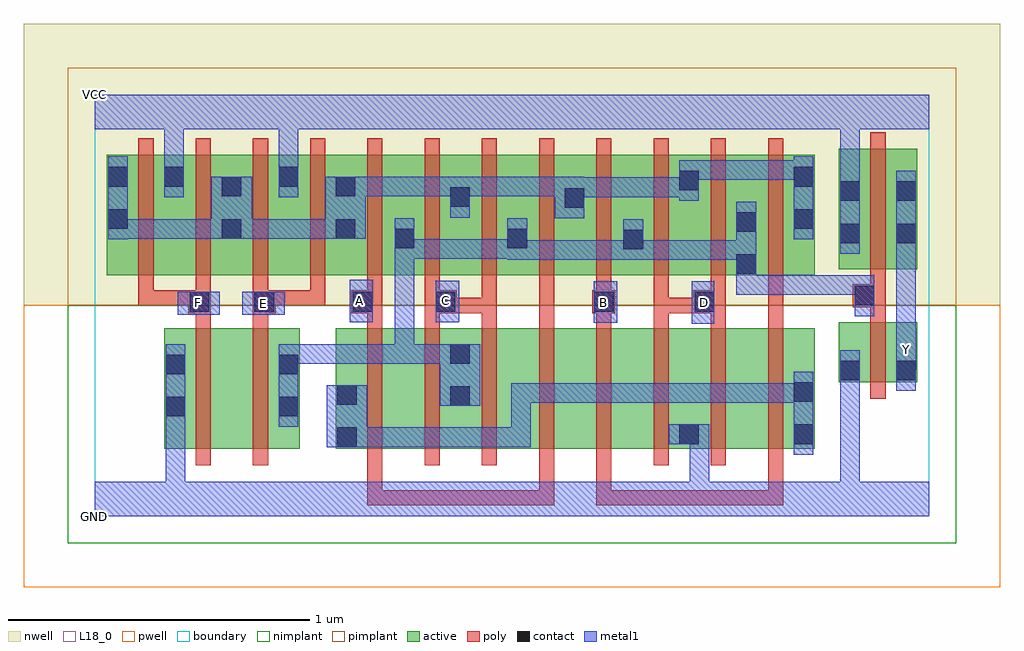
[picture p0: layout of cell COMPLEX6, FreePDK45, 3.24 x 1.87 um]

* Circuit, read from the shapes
.subckt COMPLEX6 A B C D E F GND VCC Y
M1 n1 F GND VSUBS nfet w=0.4u l=0.05u
M2 n2 E n1 VSUBS nfet w=0.4u l=0.05u
M3 n3 A n4 VSUBS nfet w=0.4u l=0.05u
M4 n2 C n3 VSUBS nfet w=0.4u l=0.05u
M5 n5 C n2 VSUBS nfet w=0.4u l=0.05u
M6 n6 A n5 VSUBS nfet w=0.4u l=0.05u
M7 n7 B n6 VSUBS nfet w=0.4u l=0.05u
M8 GND D n7 VSUBS nfet w=0.4u l=0.05u
M9 n8 D GND VSUBS nfet w=0.4u l=0.05u
M10 n4 B n8 VSUBS nfet w=0.4u l=0.05u
M11 Y n2 GND VSUBS nfet w=0.2u l=0.05u
M12 VCC F n9 n10 pfet w=0.4u l=0.05u m=2
M13 VCC E n9 n10 pfet w=0.4u l=0.05u m=2
M14 n2 A n9 n10 pfet w=0.4u l=0.05u m=2
M15 n9 C n2 n10 pfet w=0.4u l=0.05u m=2
M16 n2 B n9 n10 pfet w=0.4u l=0.05u m=2
M17 n9 D n2 n10 pfet w=0.4u l=0.05u m=2
M18 Y n2 VCC n10 pfet w=0.4u l=0.05u
.ends

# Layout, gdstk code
import gdstk
lib = gdstk.Library(unit=1e-6, precision=1e-09)
def R(c, l, rs):  # rectangles x0, y0, x1, y1
    for r in rs: c.add(gdstk.rectangle(r[:2], r[2:], *l))
def A(c, l, x, y, w, h, nx, ny, dx, dy):  # array of equal rectangles
    R(c, l, [(x+i*dx, y+j*dy, x+i*dx+w, y+j*dy+h) for i in range(nx) for j in range(ny)])
active = (1, 0)
pwell = (2, 0)
nwell = (3, 0)
nimplant = (4, 0)
pimplant = (5, 0)
poly = (9, 0)
contact = (10, 0)
metal1 = (11, 0)
L18_0 = (18, 0)
boundary = (235, 0)

complex6 = lib.new_cell('COMPLEX6')
R(complex6, active, [(0.23,0.225,0.305,0.625), (0.23,0.225,0.455,0.625), (0.455,0.225,0.68,0.625), (0.605,0.225,0.68,0.625), (0.8,0.225,0.875,0.625), (0.8,0.225,1.025,0.625), (1.025,0.225,1.25,0.625), (1.175,0.225,1.405,0.625), (1.405,0.225,1.595,0.625), (1.595,0.225,1.785,0.625), (1.785,0.225,2.01,0.625), (1.935,0.225,2.165,0.625), (1.935,0.225,2.01,0.617), (2.165,0.225,2.39,0.625), (2.315,0.225,2.39,0.625), (1.175,0.245,1.25,0.617), (2.47,0.445,2.545,0.645), (2.47,0.445,2.73,0.645), (2.655,0.445,2.73,0.645), (0.04,0.8,0.115,1.192), (0.04,0.8,0.3,1.2), (0.225,0.8,0.492,1.2), (0.417,0.8,0.492,1.192), (0.417,0.8,0.68,1.2), (0.605,0.8,0.87,1.2), (0.795,0.8,0.87,1.192), (0.795,0.8,1.065,1.2), (0.99,0.8,1.25,1.2), (0.99,0.8,1.065,1.07), (1.175,0.8,1.44,1.2), (1.365,0.8,1.63,1.2), (1.365,0.8,1.44,1.07), (1.555,0.8,1.825,1.2), (1.75,0.8,2.01,1.2), (1.75,0.8,1.825,1.07), (1.935,0.8,2.2,1.2), (2.125,0.8,2.39,1.2), (2.125,0.8,2.2,1.07), (2.315,0.8,2.39,1.192), (0.225,0.802,0.3,1.2), (2.47,0.82,2.545,1.22), (2.47,0.82,2.73,1.22), (2.655,0.82,2.73,1.165), (0.605,0.837,0.68,1.2), (1.555,0.847,1.63,1.2), (1.175,0.907,1.25,1.2), (1.935,0.907,2.01,1.192)])
R(complex6, pwell, [(-0.235,-0.235,3.005,0.7)])
R(complex6, nwell, [(-0.235,0.7,3.005,1.635)])
R(complex6, nimplant, [(-0.09,-0.09,2.86,0.7)])
R(complex6, pimplant, [(-0.09,0.7,2.86,1.49)])
A(complex6, poly, 0.905, 0.17, 0.05, 0.51, 8, 1, 0.19, 0)
A(complex6, poly, 0.905, 0.63, 0.05, 0.095, 3, 1, 0.19, 0)
A(complex6, poly, 1.665, 0.63, 0.05, 0.095, 4, 1, 0.19, 0)
A(complex6, poly, 0.145, 0.7, 0.05, 0.095, 6, 1, 0.19, 0)
A(complex6, poly, 0.145, 0.745, 0.05, 0.51, 12, 1, 0.19, 0)
R(complex6, poly, [(0.905,0.037,0.955,0.087), (0.905,0.037,0.955,0.087), (0.905,0.037,0.955,0.087), (0.905,0.037,0.955,0.22), (0.905,0.037,1.087,0.087), (1.037,0.037,1.087,0.087), (1.037,0.037,1.087,0.087), (1.037,0.037,1.087,0.087), (1.037,0.037,1.392,0.087), (1.342,0.037,1.392,0.087), (1.342,0.037,1.525,0.087), (1.475,0.037,1.525,0.087), (1.475,0.037,1.525,0.087), (1.475,0.037,1.525,0.087), (1.475,0.037,1.525,0.22), (1.665,0.037,1.715,0.087), (1.665,0.037,1.715,0.087), (1.665,0.037,1.715,0.087), (1.665,0.037,1.715,0.22), (1.665,0.037,1.905,0.087), (1.855,0.037,1.905,0.087), (1.855,0.037,1.905,0.087), (1.855,0.037,1.905,0.087), (1.855,0.037,2.152,0.087), (2.102,0.037,2.152,0.087), (2.102,0.037,2.152,0.087), (2.102,0.037,2.152,0.087), (2.102,0.037,2.285,0.087), (2.235,0.037,2.285,0.087), (2.235,0.037,2.285,0.22), (0.335,0.17,0.385,0.68), (0.525,0.17,0.575,0.68), (2.575,0.39,2.625,0.7), (0.335,0.63,0.385,0.725), (0.525,0.63,0.575,0.725), (1.475,0.63,1.525,0.75), (2.575,0.65,2.625,0.745), (0.31,0.675,0.385,0.75), (0.525,0.675,0.6,0.75), (0.852,0.675,0.955,0.75), (1.095,0.675,1.202,0.75), (1.152,0.675,1.202,0.725), (1.152,0.675,1.202,0.725), (1.152,0.675,1.335,0.725), (1.285,0.675,1.335,0.795), (1.285,0.675,1.335,0.725), (1.652,0.675,1.727,0.75), (1.855,0.675,1.905,0.795), (1.855,0.675,1.905,0.725), (1.855,0.675,1.905,0.725), (1.855,0.675,1.905,0.725), (1.855,0.675,2.037,0.725), (1.987,0.675,2.095,0.75), (2.235,0.675,2.285,0.795), (2.235,0.675,2.285,0.725), (2.517,0.695,2.625,0.77), (0.145,0.7,0.195,0.75), (0.145,0.7,0.195,0.75), (0.145,0.7,0.195,0.75), (0.145,0.7,0.36,0.75), (0.55,0.7,0.6,0.75), (0.55,0.7,0.6,0.75), (0.55,0.7,0.765,0.75), (0.715,0.7,0.765,0.75), (1.475,0.7,1.525,0.795), (1.475,0.7,1.525,0.75), (1.665,0.7,1.715,0.795), (2.045,0.7,2.095,0.795), (2.575,0.72,2.625,0.815), (2.575,0.765,2.625,1.275)])
R(complex6, contact, [(0.805,0.23,0.87,0.295), (1.94,0.24,2.005,0.305), (2.32,0.24,2.385,0.305), (0.235,0.332,0.3,0.397), (0.61,0.332,0.675,0.397), (1.18,0.367,1.245,0.432), (0.805,0.37,0.87,0.435), (2.32,0.38,2.385,0.445), (2.475,0.452,2.54,0.517), (2.66,0.452,2.725,0.517), (0.235,0.472,0.3,0.537), (0.61,0.472,0.675,0.537), (1.18,0.507,1.245,0.572), (0.315,0.68,0.38,0.745), (0.53,0.68,0.595,0.745), (0.857,0.68,0.922,0.745), (1.132,0.68,1.197,0.745), (1.657,0.68,1.722,0.745), (1.992,0.68,2.057,0.745), (2.522,0.7,2.587,0.765), (2.13,0.805,2.195,0.87), (1.755,0.887,1.82,0.952), (0.995,0.89,1.06,0.955), (1.37,0.89,1.435,0.955), (2.475,0.907,2.54,0.972), (2.66,0.907,2.725,0.972), (0.422,0.922,0.487,0.987), (0.8,0.922,0.865,0.987), (2.13,0.945,2.195,1.01), (0.045,0.955,0.11,1.02), (2.32,0.955,2.385,1.02), (1.56,1.025,1.625,1.09), (1.18,1.027,1.245,1.092), (2.475,1.047,2.54,1.112), (2.66,1.047,2.725,1.112), (0.422,1.062,0.487,1.127), (0.8,1.062,0.865,1.127), (1.94,1.082,2.005,1.147), (0.045,1.095,0.11,1.16), (0.23,1.095,0.295,1.16), (0.61,1.095,0.675,1.16), (2.32,1.095,2.385,1.16)])
R(complex6, metal1, [(0,0,2.77,0.115), (0.235,0.05,0.3,0.362), (1.975,0.05,2.04,0.305), (2.475,0.05,2.54,0.115), (2.475,0.05,2.54,0.115), (2.475,0.05,2.54,0.115), (2.475,0.05,2.54,0.115), (2.475,0.05,2.54,0.115), (2.475,0.05,2.54,0.115), (2.475,0.05,2.54,0.482), (2.32,0.205,2.385,0.48), (0.77,0.23,0.905,0.435), (0.84,0.23,0.905,0.295), (0.84,0.23,0.905,0.295), (0.84,0.23,1.072,0.295), (1.007,0.23,1.072,0.295), (1.007,0.23,1.072,0.295), (1.007,0.23,1.072,0.295), (1.007,0.23,1.297,0.295), (1.232,0.23,1.297,0.295), (1.232,0.23,1.297,0.295), (1.232,0.23,1.297,0.295), (1.232,0.23,1.447,0.295), (1.382,0.23,1.447,0.295), (1.382,0.23,1.447,0.442), (1.905,0.24,2.04,0.305), (1.975,0.24,2.04,0.305), (1.975,0.24,2.04,0.305), (0.235,0.297,0.3,0.572), (0.235,0.297,0.3,0.362), (0.235,0.297,0.3,0.362), (0.61,0.297,0.675,0.572), (1.145,0.367,1.28,0.572), (1.382,0.377,1.447,0.442), (1.382,0.377,1.585,0.442), (1.52,0.377,1.585,0.442), (1.52,0.377,1.585,0.442), (1.52,0.377,1.585,0.442), (1.52,0.377,1.762,0.442), (1.697,0.377,1.762,0.442), (1.697,0.377,1.762,0.442), (1.697,0.377,1.762,0.442), (1.697,0.377,1.9,0.442), (1.835,0.377,1.9,0.442), (1.835,0.377,1.957,0.442), (1.892,0.377,1.957,0.442), (1.892,0.377,2.177,0.442), (2.112,0.377,2.177,0.442), (2.112,0.377,2.177,0.442), (2.112,0.377,2.177,0.442), (2.112,0.377,2.385,0.442), (2.32,0.377,2.385,0.442), (2.32,0.377,2.385,0.442), (2.475,0.417,2.54,0.552), (2.66,0.417,2.725,0.552), (2.66,0.487,2.725,0.552), (2.66,0.487,2.727,0.622), (0.61,0.507,0.675,0.572), (0.61,0.507,0.675,0.572), (0.61,0.507,0.922,0.572), (0.857,0.507,0.922,0.572), (0.857,0.507,0.922,0.572), (0.857,0.507,0.922,0.572), (0.857,0.507,1.06,0.572), (0.995,0.507,1.06,0.572), (0.995,0.507,1.06,0.572), (0.995,0.507,1.06,0.572), (0.995,0.507,1.21,0.572), (0.995,0.507,1.06,0.92), (2.66,0.557,2.725,0.937), (1.982,0.64,2.057,0.78), (1.657,0.642,1.735,0.78), (0.847,0.645,0.922,0.785), (1.132,0.645,1.21,0.782), (2.522,0.665,2.587,0.8), (0.275,0.67,0.415,0.745), (0.49,0.67,0.63,0.745), (2.13,0.735,2.332,0.8), (2.13,0.735,2.195,1.045), (2.267,0.735,2.332,0.8), (2.267,0.735,2.332,0.8), (2.267,0.735,2.332,0.8), (2.267,0.735,2.587,0.8), (2.522,0.735,2.587,0.8), (2.522,0.735,2.587,0.8), (2.522,0.735,2.587,0.8), (2.522,0.735,2.587,0.8), (1.37,0.852,1.625,0.917), (1.37,0.852,1.435,0.92), (1.56,0.852,1.625,0.917), (1.56,0.852,1.722,0.917), (1.657,0.852,1.722,0.917), (1.657,0.852,1.82,0.917), (1.755,0.852,1.82,0.987), (1.755,0.852,1.9,0.917), (1.835,0.852,1.9,0.917), (1.835,0.852,1.957,0.917), (1.892,0.852,1.957,0.917), (1.892,0.852,2.195,0.917), (2.13,0.852,2.195,0.917), (2.13,0.852,2.195,0.917), (0.995,0.855,1.06,0.92), (0.995,0.855,1.06,0.92), (0.995,0.855,1.06,0.92), (0.995,0.855,1.06,0.92), (0.995,0.855,1.06,0.99), (0.995,0.855,1.297,0.92), (1.232,0.855,1.297,0.92), (1.232,0.855,1.297,0.92), (1.232,0.855,1.297,0.92), (1.232,0.855,1.435,0.92), (1.37,0.855,1.435,0.92), (1.37,0.855,1.435,0.99), (2.475,0.872,2.54,1.147), (2.66,0.872,2.725,1.147), (0.045,0.92,0.11,1.195), (2.32,0.92,2.385,1.195), (0.045,0.922,0.11,0.987), (0.045,0.922,0.11,0.987), (0.045,0.922,0.315,0.987), (0.25,0.922,0.315,0.987), (0.25,0.922,0.315,0.987), (0.25,0.922,0.315,0.987), (0.25,0.922,0.452,0.987), (0.387,0.922,0.522,1.127), (0.457,0.922,0.522,0.987), (0.457,0.922,0.522,0.987), (0.457,0.922,0.692,0.987), (0.627,0.922,0.692,0.987), (0.627,0.922,0.692,0.987), (0.627,0.922,0.692,0.987), (0.627,0.922,0.83,0.987), (0.765,0.922,0.9,1.127), (1.527,0.99,1.625,1.127), (1.18,0.992,1.245,1.127), (1.94,1.047,2.005,1.182), (0.23,1.06,0.295,1.195), (0.61,1.06,0.675,1.195), (1.56,1.06,1.762,1.125), (1.697,1.06,1.762,1.125), (1.697,1.06,1.762,1.125), (1.697,1.06,1.762,1.125), (1.697,1.06,1.9,1.125), (1.835,1.06,1.9,1.125), (1.835,1.06,2.005,1.125), (0.835,1.062,0.9,1.127), (0.835,1.062,0.9,1.127), (0.835,1.062,0.9,1.127), (0.835,1.062,0.9,1.127), (0.835,1.062,1.072,1.127), (1.007,1.062,1.072,1.127), (1.007,1.062,1.072,1.127), (1.007,1.062,1.072,1.127), (1.007,1.062,1.245,1.127), (1.18,1.062,1.245,1.127), (1.18,1.062,1.245,1.127), (1.18,1.062,1.435,1.127), (1.37,1.062,1.435,1.127), (1.37,1.062,1.435,1.127), (1.37,1.062,1.435,1.127), (1.37,1.062,1.592,1.127), (2.475,1.082,2.54,1.35), (1.94,1.117,2.142,1.182), (2.077,1.117,2.142,1.182), (2.077,1.117,2.142,1.182), (2.077,1.117,2.142,1.182), (2.077,1.117,2.385,1.182), (2.32,1.117,2.385,1.182), (2.32,1.117,2.385,1.182), (0.23,1.13,0.295,1.35), (0.61,1.13,0.675,1.35), (0,1.285,2.77,1.4)])
R(complex6, L18_0, [(0,0,2.77,0.115), (0.235,0.05,0.3,0.362), (1.975,0.05,2.04,0.305), (2.475,0.05,2.54,0.115), (2.475,0.05,2.54,0.115), (2.475,0.05,2.54,0.115), (2.475,0.05,2.54,0.115), (2.475,0.05,2.54,0.115), (2.475,0.05,2.54,0.115), (2.475,0.05,2.54,0.482), (1.905,0.24,2.04,0.305), (1.975,0.24,2.04,0.305), (1.975,0.24,2.04,0.305), (0.235,0.297,0.3,0.362), (0.235,0.297,0.3,0.362), (0.235,0.297,0.3,0.572), (2.475,0.417,2.54,0.552), (2.66,0.417,2.725,0.552), (2.66,0.487,2.725,0.552), (2.66,0.487,2.727,0.622), (2.662,0.522,2.727,0.587), (2.66,0.557,2.725,0.937), (1.982,0.64,2.057,0.78), (1.657,0.642,1.735,0.78), (0.847,0.645,0.922,0.785), (1.132,0.645,1.21,0.782), (0.275,0.67,0.415,0.745), (0.49,0.67,0.63,0.745), (0.527,0.672,0.592,0.737), (0.312,0.677,0.377,0.742), (1.657,0.677,1.722,0.742), (1.992,0.677,2.057,0.742), (0.847,0.682,0.912,0.747), (1.132,0.682,1.197,0.747), (2.475,0.872,2.54,1.147), (2.66,0.872,2.725,1.147), (0.23,1.06,0.295,1.195), (0.61,1.06,0.675,1.195), (2.475,1.082,2.54,1.35), (0.23,1.13,0.295,1.35), (0.61,1.13,0.675,1.35), (0,1.285,2.77,1.4)])
R(complex6, boundary, [(0,0,2.77,1.4)])
complex6.add(gdstk.Label('A', (0.88,0.715), layer=11, texttype=0))
complex6.add(gdstk.Label('B', (1.69,0.71), layer=11, texttype=0))
complex6.add(gdstk.Label('C', (1.165,0.715), layer=11, texttype=0))
complex6.add(gdstk.Label('D', (2.025,0.71), layer=11, texttype=0))
complex6.add(gdstk.Label('E', (0.56,0.705), layer=11, texttype=0))
complex6.add(gdstk.Label('F', (0.345,0.71), layer=11, texttype=0))
complex6.add(gdstk.Label('Y', (2.695,0.555), layer=11, texttype=0))
complex6.add(gdstk.Label('VCC', (0,1.4), layer=11, texttype=0))
complex6.add(gdstk.Label('GND', (0,0), layer=11, texttype=0))

lib.write_gds('COMPLEX6.gds')
